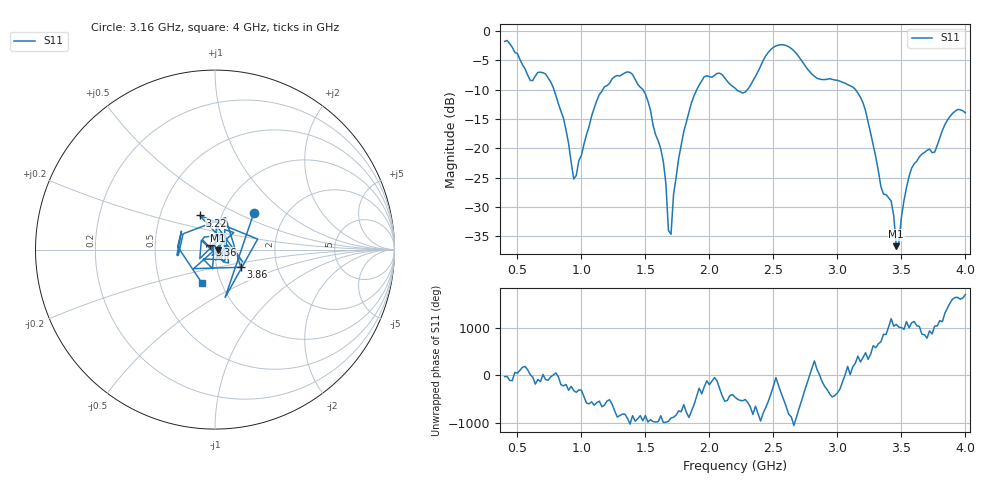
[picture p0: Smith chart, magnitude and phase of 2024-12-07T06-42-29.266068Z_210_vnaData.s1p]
!Created with skrf (http://scikit-rf.org).
# Hz S RI R 50.0
!freq ReS11 ImS11
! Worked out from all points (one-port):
!   181 points, 400 MHz to 4 GHz, reference 50 ohm
!   lowest |S11| = -36.7 dB at 3.46 GHz (marker M1), VSWR 1.03, Z = 51.4 - j0.369 ohm
!   |S11| at or under -10 dB: 785.5 MHz to 1.168 GHz (382 MHz wide, 39.1 % of centre); 1.481 GHz to 1.901 GHz (420.6 MHz wide, 24.9 % of centre); 3.142 GHz to end of sweep (the widest 3 of 4)
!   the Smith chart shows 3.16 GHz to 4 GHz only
!   S11 on the Smith chart (normalised r, x): 3.16 GHz: 1.39, +0.62; 3.22 GHz: 0.79, +0.31; 3.36 GHz: 0.94, +0.05; 3.86 GHz: 1.31, -0.27; 4 GHz: 0.81, -0.32
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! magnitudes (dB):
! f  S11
! 400 MHz  -1.8
! 600 MHz  -8.4
! 720 MHz  -7.3
! 860 MHz  -14.9
! 940 MHz  -25.2
! 1.14 GHz  -10.8
! 1.3 GHz  -7.7
! 1.52 GHz  -12.0
! 1.64 GHz  -22.3
! 1.68 GHz  -34.0
! 1.7 GHz  -34.7
! 1.72 GHz  -27.8
! 1.76 GHz  -21.7
! 1.86 GHz  -12.2
! 1.96 GHz  -7.8
! 2.2 GHz  -9.7
! 2.28 GHz  -10.4
! 2.5 GHz  -2.8
! 2.66 GHz  -3.4
! 3.1 GHz  -9.3
! 3.16 GHz  -10.6
! 3.22 GHz  -13.6
! 3.36 GHz  -27.8
! 3.42 GHz  -29.0
! 3.46 GHz  -36.7
! 3.56 GHz  -24.8
! 3.86 GHz  -15.2
! 4 GHz  -14.0
